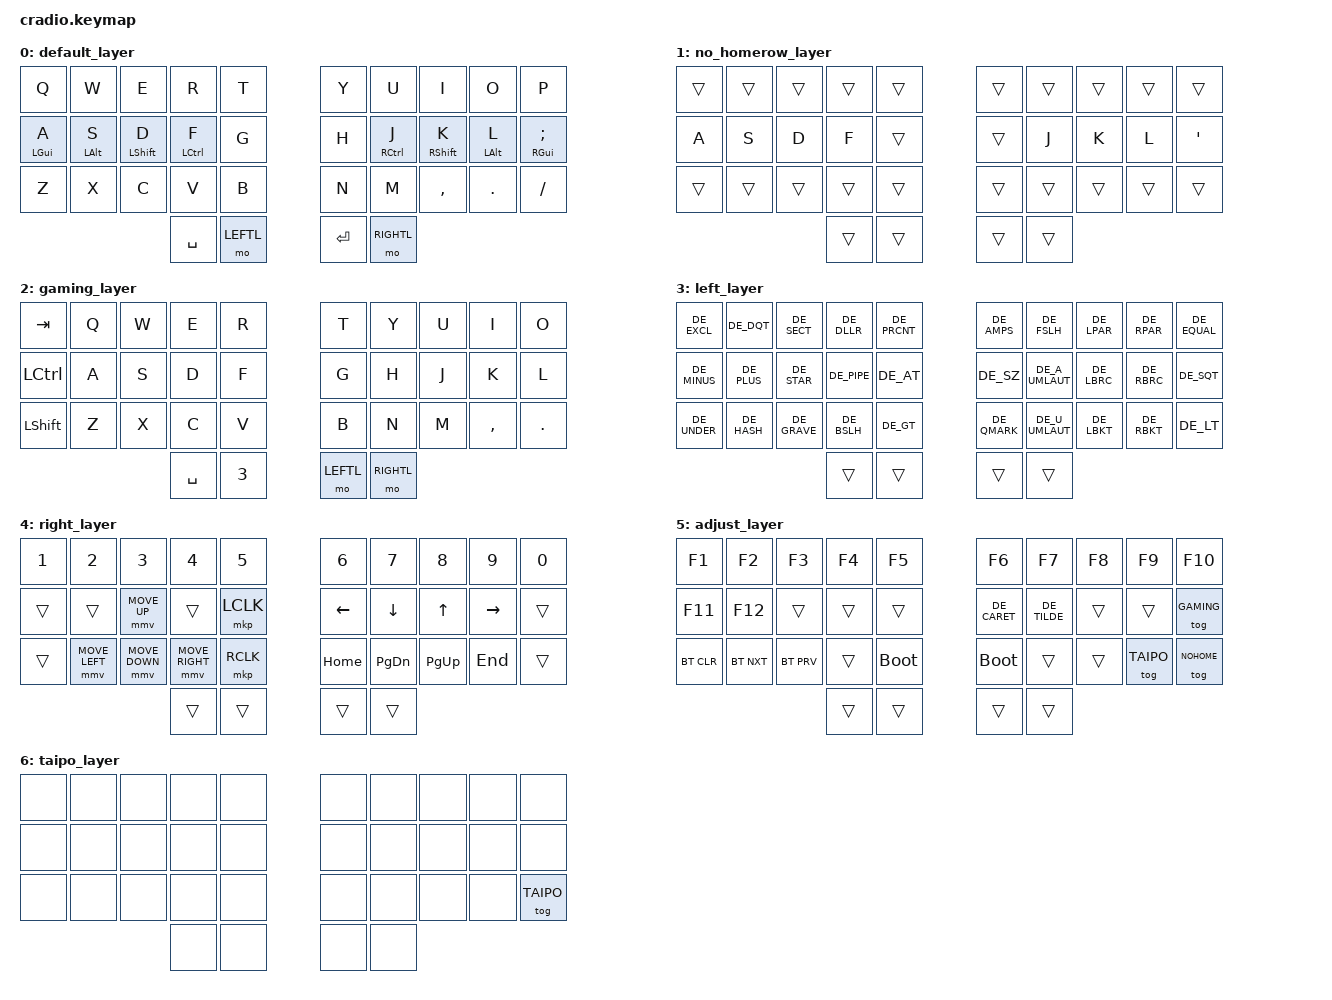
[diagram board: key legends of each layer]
/*
 * Copyright (c) 2020 The ZMK Contributors
 *
 * SPDX-License-Identifier: MIT
 */

#include <behaviors.dtsi>
#include <dt-bindings/zmk/keys.h>
#include <dt-bindings/zmk/bt.h>
#include <dt-bindings/zmk/mouse.h>
#include <dt-bindings/zmk/outputs.h>
#include "keys_de.h"

#define DEFAULT 0
#define NOHOME 1
#define GAMING 2
#define LEFTL 3
#define RIGHTL 4
#define ADJUST 5
#define TAIPO 6

#define NOGAMING <DEFAULT LEFTL RIGHTL ADJUST NOHOME>

#define COMBO_TIMEOUT 50
#define TAIPO_TIMEOUT 70
#define STICKY_TIMEOUT 500


// LEFT SIDE
#define TLI 3 // TOP
#define TLM 2 // TOP
#define TLR 1 // TOP
#define TLP 0 // TOP
#define BLI 13 // BOTTOM
#define BLM 12 // BOTTOM
#define BLR 11 // BOTTOM
#define BLP 10 // BOTTOM
#define LOT 31 // O-THUMB
#define LIT 30 // I-THUMB

// RIGHT SIDE
#define TRI 6 // TOP
#define TRM 7 // TOP
#define TRR 8 // TOP
#define TRP 9 // TOP
#define BRI 16 // BOTTOM
#define BRM 17 // BOTTOM
#define BRR 18 // BOTTOM
#define BRP 19 // BOTTOM
#define ROT 32 // O-THUMB
#define RIT 33 // I-THUMB


&mt {
  //  flavor = "tap-preferred";
   // tapping_term_ms = <200>;
};

&sk {
    release-after-ms = <STICKY_TIMEOUT>;
    quick-release;
};

/ {

    behaviors {
        bhm: balanced_homerow_mods {
            compatible = "zmk,behavior-hold-tap";
            label = "HOMEROW_MODS";
            #binding-cells = <2>;
            tapping-term-ms = <125>;
            quick-tap-ms = <0>;
            flavor = "balanced";
            bindings = <&kp>, <&kp>;
        };
    };

    conditional_layers {
        compatible = "zmk,conditional-layers";
        tri_layer {
            if-layers = <LEFTL RIGHTL>;
            then-layer = <ADJUST>;
        };
    };

    combos {
        compatible = "zmk,combos";
        combo_esc {
            timeout-ms = <COMBO_TIMEOUT>;
            key-positions = <0 1>;
            layers = NOGAMING;
            bindings = <&kp ESC>;
        };
        combo_tab {
            timeout-ms = <COMBO_TIMEOUT>;
            layers = NOGAMING;
            key-positions = <10 11>;
            bindings = <&kp TAB>;
        };
        combo_bsp {
            timeout-ms = <COMBO_TIMEOUT>;
            layers = NOGAMING;
            key-positions = <17 16>;
            bindings = <&kp BSPC>;
        };
        combo_lalt {
            timeout-ms = <COMBO_TIMEOUT>; 
            layers = NOGAMING;
            key-positions = <11 12>;
            bindings = <&kp LALT>;
        };
        combo_rgui {
            timeout-ms = <COMBO_TIMEOUT>;
            layers = NOGAMING;
            key-positions = <17 18>;
            bindings = <&kp RGUI>;
        };
        combo_stickyshift {
            timeout-ms = <COMBO_TIMEOUT>;
            layers = NOGAMING;
            key-positions = <20 21>;
            bindings = <&sk LSHFT>;
        };
        combo_capsword {
            timeout-ms = <COMBO_TIMEOUT>;
            layers = NOGAMING;
            key-positions = <21 22>;
            bindings = <&caps_word>;
        };
        combo_gaming_esc {
            timeout-ms = <COMBO_TIMEOUT>;
            layers = <GAMING>;
            key-positions = <28 29>;
            bindings = <&kp ESC>;
        };
    	combo_osu_toggel {
            timeout-ms = <COMBO_TIMEOUT>;
            layers = NOGAMING;
            key-positions = <30 31>;
            bindings = <&tog NOHOME>;
    	};
        #include "taipo.dtsi"
    };

    keymap {
        compatible = "zmk,keymap";
   		default_layer {
    		bindings = <
        		&kp Q &kp W &kp E &kp R &kp T 					                                        &kp Y &kp U        &kp I        &kp O       &kp P 
        		&bhm LGUI A &bhm LALT S &bhm LSHIFT D &bhm LCTRL F &kp G 			        	        &kp H &bhm RCTRL J &bhm RSHFT K &bhm LALT L &bhm RGUI SEMI
        		&kp Z &kp X &kp C &kp V &kp B				                                            &kp N &kp M        &kp CMMA     &kp DOT     &kp SLASH
                  				                                    &kp SPC &mo LEFTL  			 &kp RET &mo RIGHTL
    		>;
		};
        no_homerow_layer {
    		bindings = <
        		&trans     &trans       &trans     &trans     &trans                    &trans  &trans  &trans  &trans &trans 
        		&kp A      &kp S        &kp D      &kp F      &trans                    &trans  &kp J   &kp K   &kp L  &kp QUOT 
        		&trans     &trans       &trans     &trans     &trans                    &trans  &trans  &trans  &trans &trans
        					                                    &trans &trans 		&trans  &trans
        	>;
		};
    	gaming_layer {
    		bindings = <
        		&kp TAB   &kp Q &kp W &kp E &kp R                                              &kp T &kp Y &kp U  &kp I    &kp O 
        		&kp LCTRL &kp A &kp S &kp D &kp F                                              &kp G &kp H &kp J  &kp K    &kp L
        		&kp LSHFT &kp Z &kp X &kp C &kp V                                              &kp B &kp N &kp M  &kp CMMA &kp DOT
                  				                &kp SPC &kp N3  			 &mo LEFTL &mo RIGHTL
    		>;
		};
        left_layer {
    		bindings = <
        		&kp DE_EXCL  &kp DE_DQT  &kp DE_SECT  &kp DE_DLLR &kp DE_PRCNT         &kp DE_AMPS  &kp DE_FSLH      &kp DE_LPAR &kp DE_RPAR &kp DE_EQUAL
        		&kp DE_MINUS &kp DE_PLUS &kp DE_STAR  &kp DE_PIPE &kp DE_AT            &kp DE_SZ    &kp DE_A_UMLAUT  &kp DE_LBRC &kp DE_RBRC &kp DE_SQT
                &kp DE_UNDER &kp DE_HASH &kp DE_GRAVE &kp DE_BSLH &kp DE_GT            &kp DE_QMARK &kp DE_U_UMLAUT  &kp DE_LBKT &kp DE_RBKT &kp DE_LT
        					                               &trans  &trans    &trans  &trans
        	>;
        };
   	    right_layer {
        	bindings = <
        		&kp NUM_1  &kp NUM_2       &kp NUM_3        &kp NUM_4       &kp NUM_5                 &kp NUM_6 &kp NUM_7 &kp NUM_8 &kp NUM_9 &kp NUM_0 
        		&trans     &trans          &mmv MOVE_UP     &trans          &mkp LCLK                 &kp LEFT  &kp DOWN  &kp UP    &kp RIGHT &trans 
        		&trans     &mmv MOVE_LEFT  &mmv MOVE_DOWN   &mmv MOVE_RIGHT &mkp RCLK                 &kp HOME  &kp PG_DN &kp PG_UP &kp END   &trans
                    					                                    &trans &trans 		&trans  &trans
        	>;
		};			
	    adjust_layer {
        	bindings = <
        		&kp F1      &kp F2    &kp F3      &kp F4    &kp F5 			           &kp F6       &kp F7        &kp F8        &kp F9     &kp F10
        		&kp F11     &kp F12   &trans      &trans    &trans  				   &kp DE_CARET &kp DE_TILDE  &trans        &trans     &tog GAMING
        		&bt BT_CLR  &bt BT_NXT &bt BT_PRV &trans    &bootloader                &bootloader  &trans        &trans        &tog TAIPO &tog NOHOME  
        					                                &trans &trans  					&trans &trans  
    		>;
		};
	    taipo_layer {
            bindings = <
                &none           &none            &none             &none            &none                 &none            &none            &none            &none            &none
                &none           &none            &none             &none            &none                 &none            &none            &none            &none            &none
                &none           &none            &none             &none            &none                 &none            &none            &none            &none            &tog TAIPO
                                                                   &none            &none                 &none            &none
            >;
		};	
	};
};
